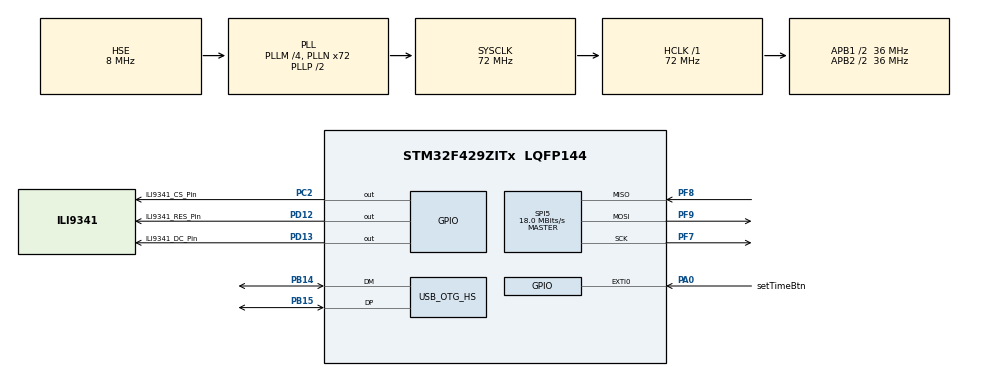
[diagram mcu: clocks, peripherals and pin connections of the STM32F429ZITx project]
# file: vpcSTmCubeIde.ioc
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ADC1.Channel-1\#ChannelRegularConversion=ADC_CHANNEL_TEMPSENSOR
ADC1.NbrOfConversionFlag=1
ADC1.Rank-1\#ChannelRegularConversion=1
ADC1.SamplingTime-1\#ChannelRegularConversion=ADC_SAMPLETIME_3CYCLES
ADC1.master=1
Mcu.Family=STM32F4
Mcu.Name=STM32F429ZITx
Mcu.Package=LQFP144
NVIC.EXTI0_IRQn=true\:0\:0\:false\:false\:true\:true\:true
NVIC.OTG_HS_IRQn=true\:0\:0\:false\:false\:true\:false\:true
NVIC.PriorityGroup=NVIC_PRIORITYGROUP_4
NVIC.TIM1_UP_TIM10_IRQn=true\:0\:0\:false\:false\:true\:false\:true
NVIC.TimeBase=TIM1_UP_TIM10_IRQn
NVIC.TimeBaseIP=TIM1
PA0/WKUP.GPIO_Label=setTimeBtn
PA0/WKUP.Signal=GPXTI0
PA13.Mode=Serial_Wire
PA13.Signal=SYS_JTMS-SWDIO
PA14.Mode=Serial_Wire
PA14.Signal=SYS_JTCK-SWCLK
PB14.Mode=Device_Only_FS
PB14.Signal=USB_OTG_HS_DM
PB15.Mode=Device_Only_FS
PB15.Signal=USB_OTG_HS_DP
PC2.GPIO_Label=ILI9341_CS_Pin
PC2.Signal=GPIO_Output
PD12.GPIO_Label=ILI9341_RES_Pin
PD12.Signal=GPIO_Output
PD13.GPIO_Label=ILI9341_DC_Pin
PD13.Signal=GPIO_Output
PF7.Mode=Full_Duplex_Master
PF7.Signal=SPI5_SCK
PF8.Mode=Full_Duplex_Master
PF8.Signal=SPI5_MISO
PF9.Mode=Full_Duplex_Master
PF9.Signal=SPI5_MOSI
PH0/OSC_IN.Mode=HSE-External-Oscillator
PH0/OSC_IN.Signal=RCC_OSC_IN
PH1/OSC_OUT.Mode=HSE-External-Oscillator
PH1/OSC_OUT.Signal=RCC_OSC_OUT
ProjectManager.HeapSize=0x2000
ProjectManager.StackSize=0x4000
ProjectManager.TargetToolchain=MDK-ARM V5.27
RCC.48MHZClocksFreq_Value=48000000
RCC.AHBFreq_Value=72000000
RCC.APB1CLKDivider=RCC_HCLK_DIV2
RCC.APB1Freq_Value=36000000
RCC.APB1TimFreq_Value=72000000
RCC.APB2CLKDivider=RCC_HCLK_DIV2
RCC.APB2Freq_Value=36000000
RCC.APB2TimFreq_Value=72000000
RCC.CortexFreq_Value=72000000
RCC.HCLKFreq_Value=72000000
RCC.HSE_VALUE=8000000
RCC.HSI_VALUE=16000000
RCC.LSE_VALUE=32768
RCC.PLLM=4
RCC.PLLN=72
RCC.PLLQ=3
RCC.SYSCLKFreq_VALUE=72000000
RCC.SYSCLKSource=RCC_SYSCLKSOURCE_PLLCLK
RCC.VCOOutputFreq_Value=144000000
RTC.Date=4
RTC.Format=RTC_FORMAT_BIN
RTC.HourFormat=RTC_HOURFORMAT_12
RTC.Hours=10
RTC.Minutes=15
RTC.Month=RTC_MONTH_MAY
RTC.TimeFormat=RTC_HOURFORMAT12_PM
RTC.Year=20
SPI5.CalculateBaudRate=18.0 MBits/s
SPI5.Direction=SPI_DIRECTION_2LINES
SPI5.Mode=SPI_MODE_MASTER
SPI5.VirtualType=VM_MASTER
USB_DEVICE.CLASS_NAME_HS=CDC
USB_DEVICE.VirtualMode-CDC_HS=Cdc
USB_DEVICE.VirtualModeHS=Cdc_HS
USB_OTG_HS.VirtualMode-Device_Only_FS=Device_Only_FS
VP_ADC1_TempSens_Input.Mode=IN-TempSens
VP_RTC_VS_RTC_Activate.Mode=RTC_Enabled
VP_RTC_VS_RTC_Calendar.Mode=RTC_Calendar
VP_SYS_VS_tim1.Mode=TIM1
VP_USB_DEVICE_VS_USB_DEVICE_CDC_HS.Mode=CDC_HS
board=custom

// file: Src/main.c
/* USER CODE BEGIN Header */
/**
  ******************************************************************************
  * @file           : main.c
  * @brief          : Main program body
  ******************************************************************************
  * @attention
  *
  * <h2><center>&copy; Copyright (c) 2020 STMicroelectronics.
  * All rights reserved.</center></h2>
  *
  * This software component is licensed by ST under Ultimate Liberty license
  * SLA0044, the "License"; You may not use this file except in compliance with
  * the License. You may obtain a copy of the License at:
  *                             www.st.com/SLA0044
  *
  ******************************************************************************
  */
/* USER CODE END Header */

#include "main.h"
#include "adc.h"
#include "rtc.h"
#include "spi.h"
#include "usb_device.h"
#include "gpio.h"

/* USER CODE BEGIN Includes */
#include "usbd_cdc_if.h"
#include "ili9341.h"
#include "ili9341_touch.h"
#include "fonts.h"
#include<string.h>
#include<math.h>
/* USER CODE END Includes */

/* USER CODE BEGIN PV */
uint32_t tempRawVal;
volatile float voltage, temp;
char printData[20];
char printData1[20];
typedef struct
{
	bool btnSts;
	bool timeSet;
	bool resetSts;
}INT_FLAG;
INT_FLAG intFlag;
/* USER CODE END PV */

void SystemClock_Config(void);

/* USER CODE BEGIN 0 */
void reverse(char* str, int len)
{
    int i = 0, j = len - 1, temp;
    while (i < j) {
        temp = str[i];
        str[i] = str[j];
        str[j] = temp;
        i++;
        j--;
    }
}

// Converts a given integer x to string str[].
// d is the number of digits required in the output.
// If d is more than the number of digits in x,
// then 0s are added at the beginning.
int intToStr(int x, char str[], int d)
{
    int i = 0;
    while (x) {
        str[i++] = (x % 10) + '0';
        x = x / 10;
    }

    // If number of digits required is more, then
    // add 0s at the beginning
    while (i < d)
        str[i++] = '0';

    reverse(str, i);
    str[i] = '\0';
    return i;
}

// Converts a floating-point/double number to a string.
void ftoa(float n, char* res, int afterpoint)
{
    // Extract integer part
    int ipart = (int)n;

    // Extract floating part
    float fpart = n - (float)ipart;

    // convert integer part to string
    int i = intToStr(ipart, res, 0);

    // check for display option after point
    if (afterpoint != 0) {
        res[i] = '.'; // add dot

        // Get the value of fraction part upto given no.
        // of points after dot. The third parameter
        // is needed to handle cases like 233.007
        fpart = fpart * pow(10, afterpoint);

        intToStr((int)fpart, res + i + 1, afterpoint);
    }
}
/* USER CODE END 0 */

int main(void)
{
  /* USER CODE BEGIN 1 */
	char myBuff[20];
	uint32_t cnt = 0;
  /* USER CODE END 1 */

  /* MCU Configuration--------------------------------------------------------*/

  /* Reset of all peripherals, Initializes the Flash interface and the Systick. */
  HAL_Init();

  /* Configure the system clock */
  SystemClock_Config();

  /* Initialize all configured peripherals */
  MX_GPIO_Init();
  MX_USB_DEVICE_Init();
  MX_SPI5_Init();
  MX_ADC1_Init();
  MX_RTC_Init();
  /* USER CODE BEGIN 2 */
	ILI9341_Unselect();
  ILI9341_TouchUnselect();
  ILI9341_Init();
  HAL_ADC_Start (&hadc1);
  ILI9341_FillScreen(ILI9341_WHITE);

  ILI9341_WriteString(10, 100, " Current Temp ", Font_16x26, ILI9341_BLUE, ILI9341_WHITE);
  ILI9341_WriteString(140, 150, "C" , Font_16x26, ILI9341_GREEN, ILI9341_WHITE);

  /* USER CODE END 2 */

  /* Infinite loop */
  while (1)
  {

    /* USER CODE BEGIN 3 */
		HAL_ADC_Start (&hadc1);
	  HAL_ADC_PollForConversion (&hadc1, 10);
	  tempRawVal =  HAL_ADC_GetValue(&hadc1);
	  voltage = (float)tempRawVal * (3.3/4096);

	  temp = ((voltage-0.76)/2.5)+25;
	  HAL_ADC_Stop(&hadc1);

		ftoa(temp,printData,2);
	  ILI9341_WriteString(40, 150, printData , Font_16x26, ILI9341_RED, ILI9341_WHITE);

	  cnt = cnt + 1;
	  sprintf(myBuff,"Data = %d\n\r", cnt);
	  CDC_Transmit_HS((uint8_t *)myBuff,strlen(myBuff));
	  HAL_Delay(100);
  }
  /* USER CODE END 3 */
}

void SystemClock_Config(void)
{
  RCC_OscInitTypeDef RCC_OscInitStruct = {0};
  RCC_ClkInitTypeDef RCC_ClkInitStruct = {0};
  RCC_PeriphCLKInitTypeDef PeriphClkInitStruct = {0};

  /** Configure the main internal regulator output voltage
  */
  __HAL_RCC_PWR_CLK_ENABLE();
  __HAL_PWR_VOLTAGESCALING_CONFIG(PWR_REGULATOR_VOLTAGE_SCALE3);
  /** Initializes the CPU, AHB and APB busses clocks
  */
  RCC_OscInitStruct.OscillatorType = RCC_OSCILLATORTYPE_LSI|RCC_OSCILLATORTYPE_HSE;
  RCC_OscInitStruct.HSEState = RCC_HSE_ON;
  RCC_OscInitStruct.LSIState = RCC_LSI_ON;
  RCC_OscInitStruct.PLL.PLLState = RCC_PLL_ON;
  RCC_OscInitStruct.PLL.PLLSource = RCC_PLLSOURCE_HSE;
  RCC_OscInitStruct.PLL.PLLM = 4;
  RCC_OscInitStruct.PLL.PLLN = 72;
  RCC_OscInitStruct.PLL.PLLP = RCC_PLLP_DIV2;
  RCC_OscInitStruct.PLL.PLLQ = 3;
  if (HAL_RCC_OscConfig(&RCC_OscInitStruct) != HAL_OK)
  {
    Error_Handler();
  }
  /** Initializes the CPU, AHB and APB busses clocks
  */
  RCC_ClkInitStruct.ClockType = RCC_CLOCKTYPE_HCLK|RCC_CLOCKTYPE_SYSCLK
                              |RCC_CLOCKTYPE_PCLK1|RCC_CLOCKTYPE_PCLK2;
  RCC_ClkInitStruct.SYSCLKSource = RCC_SYSCLKSOURCE_PLLCLK;
  RCC_ClkInitStruct.AHBCLKDivider = RCC_SYSCLK_DIV1;
  RCC_ClkInitStruct.APB1CLKDivider = RCC_HCLK_DIV2;
  RCC_ClkInitStruct.APB2CLKDivider = RCC_HCLK_DIV2;

  if (HAL_RCC_ClockConfig(&RCC_ClkInitStruct, FLASH_LATENCY_2) != HAL_OK)
  {
    Error_Handler();
  }
  PeriphClkInitStruct.PeriphClockSelection = RCC_PERIPHCLK_RTC;
  PeriphClkInitStruct.RTCClockSelection = RCC_RTCCLKSOURCE_LSI;
  if (HAL_RCCEx_PeriphCLKConfig(&PeriphClkInitStruct) != HAL_OK)
  {
    Error_Handler();
  }
}

/* USER CODE BEGIN 4 */
void CDC_ReceiveCallBack(uint8_t *buf,uint32_t len)
{
	ILI9341_WriteString(70, 180,(char*) buf , Font_16x26, ILI9341_RED, ILI9341_WHITE);
}

void HAL_GPIO_EXTI_Callback(uint16_t GPIO_Pin)
{
	if(GPIO_Pin == setTimeBtn_Pin)
	{
		intFlag.btnSts = true;
		//ILI9341_WriteString(70, 220,(char*) "BTN Pressed" , Font_16x26, ILI9341_RED, ILI9341_WHITE);
	}
	else
	{
		__NOP();
	}
}
/* USER CODE END 4 */

void HAL_TIM_PeriodElapsedCallback(TIM_HandleTypeDef *htim)
{
  if (htim->Instance == TIM1) {
    HAL_IncTick();
  }
}

void Error_Handler(void)
{
}

/************************ (C) COPYRIGHT STMicroelectronics *****END OF FILE****/
